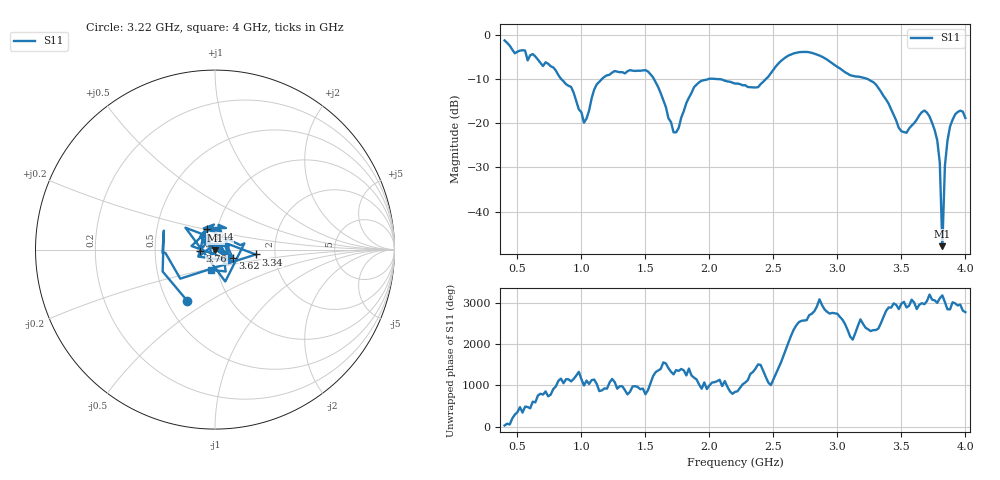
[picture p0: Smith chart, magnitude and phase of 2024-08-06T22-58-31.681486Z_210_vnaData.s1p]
!Created with skrf (http://scikit-rf.org).
# Hz S RI R 50.0
!freq ReS11 ImS11
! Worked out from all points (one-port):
!   181 points, 400 MHz to 4 GHz, reference 50 ohm
!   lowest |S11| = -47.9 dB at 3.82 GHz (marker M1), VSWR 1.01, Z = 50.2 - j0.326 ohm
!   |S11| at or under -10 dB: 1.568 GHz to 1.987 GHz (419.4 MHz wide, 23.6 % of centre); 2.086 GHz to 2.439 GHz (353.3 MHz wide, 15.6 % of centre); 3.24 GHz to end of sweep (the widest 3 of 4)
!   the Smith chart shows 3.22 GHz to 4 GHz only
!   S11 on the Smith chart (normalised r, x): 3.22 GHz: 0.63, -0.40; 3.34 GHz: 1.58, -0.09; 3.44 GHz: 0.89, +0.21; 3.62 GHz: 1.21, -0.12; 3.76 GHz: 0.85, -0.01; 4 GHz: 0.94, -0.21
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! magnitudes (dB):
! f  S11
! 400 MHz  -1.2
! 860 MHz  -10.4
! 920 MHz  -11.8
! 1.02 GHz  -19.9
! 1.12 GHz  -11.1
! 1.3 GHz  -8.4
! 1.52 GHz  -8.2
! 1.72 GHz  -22.0
! 1.76 GHz  -21.1
! 1.92 GHz  -10.7
! 2.2 GHz  -11.0
! 2.38 GHz  -11.8
! 2.66 GHz  -4.1
! 3.1 GHz  -9.1
! 3.22 GHz  -9.8
! 3.34 GHz  -12.8
! 3.44 GHz  -18.1
! 3.5 GHz  -21.8
! 3.56 GHz  -21.2
! 3.62 GHz  -19.1
! 3.68 GHz  -17.1
! 3.76 GHz  -21.5
! 3.8 GHz  -28.9
! 3.82 GHz  -47.9
! 3.84 GHz  -29.6
! 3.86 GHz  -23.9
! 3.92 GHz  -18.0
! 4 GHz  -18.8
